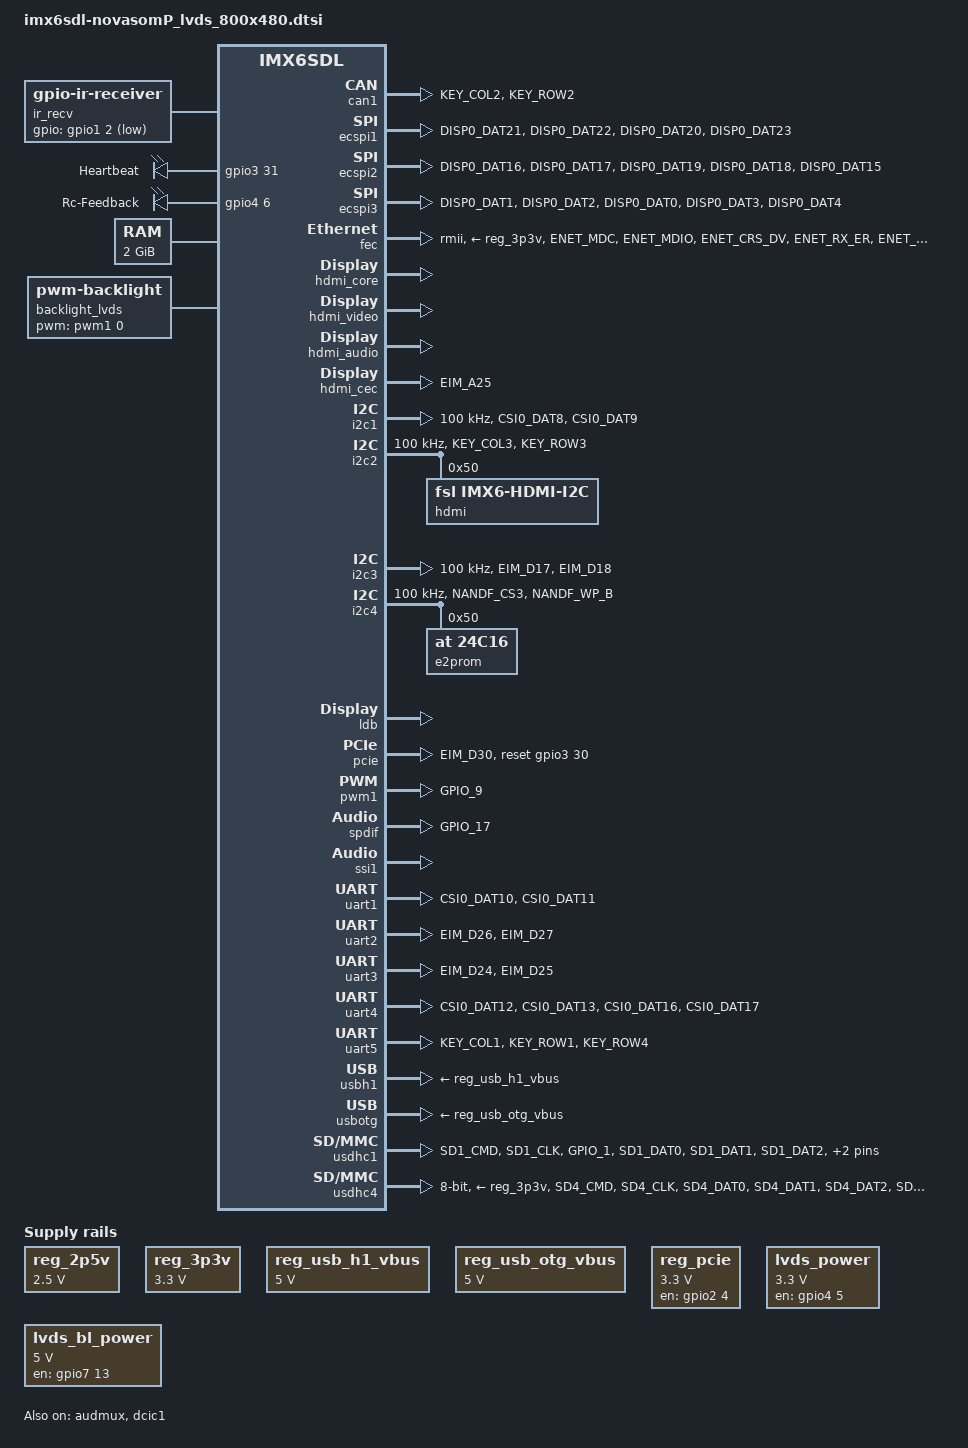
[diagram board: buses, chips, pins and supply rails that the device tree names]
/*
 * Copyright 2013 Boundary Devices, Inc.
 * Copyright 2011-2015 Freescale Semiconductor, Inc.
 * Copyright 2011 Linaro Ltd.
 *
 * The code contained herein is licensed under the GNU General Public
 * License. You may obtain a copy of the GNU General Public License
 * Version 2 or later at the following locations:
 *
 * http://www.opensource.org/licenses/gpl-license.html
 * http://www.gnu.org/copyleft/gpl.html
 */
/*
imx6sdl-novasomP.dtsi
*/
#include <dt-bindings/gpio/gpio.h>
#include <dt-bindings/input/input.h>

/ {
        aliases {
                mxcfb0 = &mxcfb1;
                mxcfb1 = &mxcfb2;
                mxcfb2 = &mxcfb3;
        };

        ir_recv: ir-receiver {
                compatible = "gpio-ir-receiver";
                gpios = <&gpio1 2 1>;
                pinctrl-names = "default";
                pinctrl-0 = <&pinctrl_novasomp_i_ir>;
        };

        leds {
                compatible = "gpio-leds";
		/* rc-feedback */
                heartbeat-led {
                        gpios = <&gpio3 31 0>;
                        label = "Heartbeat";
                        linux,default-trigger = "heartbeat";
	                pinctrl-names = "default";
	                pinctrl-0 = <&pinctrl_heartbeat>;
                };
                rc-feedback-led {
                        gpios = <&gpio4 6 0>;
                        label = "Rc-Feedback";
                        linux,default-trigger = "rc-feedback";
	                pinctrl-names = "default";
	                pinctrl-0 = <&pinctrl_rc_feedback>;
                };
        };

	memory {
		reg = <0x10000000 0x80000000>;
	};

	regulators {
		compatible = "simple-bus";
		#address-cells = <1>;
		#size-cells = <0>;

		reg_2p5v: regulator@0 {
			compatible = "regulator-fixed";
			reg = <0>;
			regulator-name = "2P5V";
			regulator-min-microvolt = <2500000>;
			regulator-max-microvolt = <2500000>;
			regulator-always-on;
		};

		reg_3p3v: regulator@1 {
			compatible = "regulator-fixed";
			reg = <1>;
			regulator-name = "3P3V";
			regulator-min-microvolt = <3300000>;
			regulator-max-microvolt = <3300000>;
			regulator-always-on;
		};

                reg_usb_h1_vbus: regulator@2 {
                        compatible = "regulator-fixed";
                        reg = <0>;
                        regulator-name = "usb_h1_vbus";
                        regulator-min-microvolt = <5000000>;
                        regulator-max-microvolt = <5000000>;
                        enable-active-high;
                };
		reg_usb_otg_vbus: regulator@3 {
			compatible = "regulator-fixed";
			reg = <2>;
			regulator-name = "usb_otg_vbus";
			regulator-min-microvolt = <5000000>;
			regulator-max-microvolt = <5000000>;
			enable-active-high;
		};
                reg_pcie: regulator@4 {
                        compatible = "regulator-fixed";
                        reg = <3>;
                        pinctrl-names = "default";
                        pinctrl-0 = <&pinctrl_pcie_reg>;
                        regulator-name = "MPCIE_3V3";
                        regulator-min-microvolt = <3300000>;
                        regulator-max-microvolt = <3300000>;
                        gpio = <&gpio2 4 0>;
                        enable-active-high;
                };
		snvs_reg: vsnvs {
			regulator-min-microvolt = <1000000>;
			regulator-max-microvolt = <3000000>;
			regulator-boot-on;
			regulator-always-on;
		};
                lvds_power: lvds_power {
                        compatible = "regulator-fixed";
                        pinctrl-names = "default";
                        pinctrl-0 = <&lvds_enable_reg>;
                        regulator-name = "LVDS_3V3";
                        regulator-min-microvolt = <3300000>;
                        regulator-max-microvolt = <3300000>;
                        gpio = <&gpio4 5 0>;
                        enable-active-high;
			regulator-always-on;
                };
                lvds_bl_power: lvds_bl_power {
                        compatible = "regulator-fixed";
                        pinctrl-names = "default";
                        pinctrl-0 = <&lvds_bl_enable_reg>;
                        regulator-name = "LVDS_5V";
                        regulator-min-microvolt = <5000000>;
                        regulator-max-microvolt = <5000000>;
			startup-delay-us = <70000>;
                        gpio = <&gpio7 13 0>;
                        enable-active-high;
			regulator-always-on;
                };
	};

        sound-spdif {
                compatible = "fsl,imx-audio-spdif";
                model = "imx-spdif";
                spdif-controller = <&spdif>;
                spdif-out;
        };
        sound-hdmi {
                compatible = "fsl,imx6q-audio-hdmi",
                             "fsl,imx-audio-hdmi";
                model = "imx-audio-hdmi";
                hdmi-controller = <&hdmi_audio>;
        };

	backlight_lvds {
		compatible = "pwm-backlight";
		pwms = <&pwm1 0 5000000>;
		brightness-levels = <0 4 8 16 32 64 128 255>;
		default-brightness-level = <4>;
		//power-supply = <&lvds_bl_power>;
		status = "okay";
	};

	mxcfb1: fb@0 {
                compatible = "fsl,mxc_sdc_fb";
                disp_dev = "ldb";
                interface_pix_fmt = "RGB666";
                mode_str ="LDB-800P480";
                default_bpp = <24>;
                int_clk = <0>;
                late_init = <0>;
                status = "okay";
        };

        mxcfb2: fb@1 {
                compatible = "fsl,mxc_sdc_fb";
                disp_dev = "ldb";
                interface_pix_fmt = "RGB666";
                default_bpp = <16>;
                int_clk = <0>;
                late_init = <0>;
                status = "disabled";
        };
        mxcfb3: fb@2 {
                compatible = "fsl,mxc_sdc_fb";
                disp_dev = "ldb";
                interface_pix_fmt = "RGB666";
                default_bpp = <16>;
                int_clk = <0>;
                late_init = <0>;
                status = "disabled";
        };


};

&audmux {
	pinctrl-names = "default";
	pinctrl-0 = <&pinctrl_audmux_port3>;
	status = "okay";
};

&audmux {
	pinctrl-names = "default";
	pinctrl-0 = <&pinctrl_audmux_port6>;
	status = "okay";
};

&can1 {
        pinctrl-names = "default";
        pinctrl-0 = <&pinctrl_can1>;
        status = "okay";
};

&dcic1 {
        dcic_id = <0>;
        dcic_mux = "dcic-hdmi";
        status = "okay";
};

&ecspi1 {
        fsl,spi-num-chipselects = <2>;
        cs-gpios = <&gpio5 17 0>;
        pinctrl-names = "default";
        pinctrl-0 = <&pinctrl_ecspi1>;
        status = "okay";
};

&ecspi2 {
        fsl,spi-num-chipselects = <2>;
        cs-gpios = <&gpio5 9 0> ,  <&gpio5 12 0>;
        pinctrl-names = "default";
        pinctrl-0 = <&pinctrl_ecspi2>;
        status = "okay";
};

&ecspi3 {
        fsl,spi-num-chipselects = <2>;
        cs-gpios = <&gpio4 24 0> ,  <&gpio4 25 0>;
        pinctrl-names = "default";
        pinctrl-0 = <&pinctrl_ecspi3>;
        status = "okay";
};

&fec {
        pinctrl-names = "default";
        pinctrl-0 = <&pinctrl_enet>;
        phy-mode = "rmii";
        phy-supply = <&reg_3p3v>;
        status = "okay";
};

&hdmi_core {
        ipu_id = <0>;
        disp_id = <0>;
        status = "okay";
};

&hdmi_video {
        fsl,phy_reg_vlev = <0x0294>;
        fsl,phy_reg_cksymtx = <0x800d>;
        status = "okay";
};

&hdmi_audio {
        status = "okay";
};

&hdmi_cec {
        pinctrl-names = "default";
        pinctrl-0 = <&pinctrl_hdmi_cec>;
        status = "okay";
};

&i2c1 {						/* expansion, power from expansion, 2 wires */			
        clock-frequency = <100000>;
        pinctrl-names = "default";
        pinctrl-0 = <&pinctrl_i2c1>;
        status = "okay";
};
&i2c2 {
        clock-frequency = <100000>;
        pinctrl-names = "default";
        pinctrl-0 = <&pinctrl_i2c2>;
        status = "okay";

        hdmi: edid@50 {
                compatible = "fsl,imx6-hdmi-i2c";
                reg = <0x50>;
        };

};

&i2c3 {
        clock-frequency = <100000>;
        pinctrl-names = "default";
        pinctrl-0 = <&pinctrl_i2c3>;
        status = "okay";
};

&i2c4 {
        clock-frequency = <100000>;
        pinctrl-names = "default";
        pinctrl-0 = <&pinctrl_i2c4>;
        status = "okay";
        e2prom: eeprom@50 {
                compatible = "at,24c16";
                reg = <0x50>;
        };
};

&iomuxc {
/*
CONFIG bits definition:
SION		                (1 << 30)
PAD_CTL_HYS                     (1 << 16)
PAD_CTL_PUS_100K_DOWN           (0 << 14)
PAD_CTL_PUS_47K_UP              (1 << 14)
PAD_CTL_PUS_100K_UP             (2 << 14)
PAD_CTL_PUS_22K_UP              (3 << 14)
PAD_CTL_PUE                     (1 << 13)
PAD_CTL_PKE                     (1 << 12)
PAD_CTL_ODE                     (1 << 11)
PAD_CTL_SPEED_LOW               (1 << 6)
PAD_CTL_SPEED_MED               (2 << 6)
PAD_CTL_SPEED_HIGH              (3 << 6)
PAD_CTL_DSE_DISABLE             (0 << 3)
PAD_CTL_DSE_34ohm               (7 << 3)
PAD_CTL_DSE_40ohm               (6 << 3)
PAD_CTL_DSE_48ohm               (5 << 3)
PAD_CTL_DSE_60ohm               (4 << 3)
PAD_CTL_DSE_80ohm               (3 << 3)
PAD_CTL_DSE_120ohm              (2 << 3)
PAD_CTL_DSE_240ohm              (1 << 3)
PAD_CTL_SRE_FAST                (1 << 0)
PAD_CTL_SRE_SLOW                (0 << 0)
*/
        pinctrl-names = "default";

        imx6qdl-novasomp {
                pinctrl_hog: hoggrp {
                        fsl,pins = <
				MX6QDL_PAD_GPIO_3__XTALOSC_REF_CLK_24M	0x130b0	/* 0x130b0 */	
                                MX6QDL_PAD_GPIO_16__ENET_REF_CLK 	0x130b0 	/* 00x0001b0a1 */
				MX6QDL_PAD_GPIO_0__CCM_CLKO1		0x130b0 /* AUD(x)_MCK */
                        >;
                };

               pinctrl_audmux_port3: audmuxgrp3 {
                        fsl,pins = <
                                MX6QDL_PAD_CSI0_DAT7__AUD3_RXD          0x130b0
                                MX6QDL_PAD_CSI0_DAT4__AUD3_TXC          0x130b0
                                MX6QDL_PAD_CSI0_DAT5__AUD3_TXD          0x110b0
                                MX6QDL_PAD_CSI0_DAT6__AUD3_TXFS         0x130b0
                        >;
                };

                pinctrl_audmux_port6: audmuxgrp6 {
                        fsl,pins = <
                                MX6QDL_PAD_DI0_PIN4__AUD6_RXD		0x130b0
                                MX6QDL_PAD_DI0_PIN15__AUD6_TXC		0x130b0
                                MX6QDL_PAD_DI0_PIN2__AUD6_TXD		0x110b0
                                MX6QDL_PAD_DI0_PIN3__AUD6_TXFS		0x130b0
                        >;
                };

                pinctrl_can1: can1grp {
                        fsl,pins = <
                                MX6QDL_PAD_KEY_COL2__FLEXCAN1_TX        0x1b0b0
                                MX6QDL_PAD_KEY_ROW2__FLEXCAN1_RX        0x1b0b0
                        >;
                };

                pinctrl_ecspi1: ecspi1grp {
                        fsl,pins = <
                                MX6QDL_PAD_DISP0_DAT21__ECSPI1_MOSI 0x100b1
                                MX6QDL_PAD_DISP0_DAT22__ECSPI1_MISO 0x100b1
                                MX6QDL_PAD_DISP0_DAT20__ECSPI1_SCLK 0x100b1
                                MX6QDL_PAD_DISP0_DAT23__ECSPI1_SS0  0x100b1
                        >;
                };

                pinctrl_ecspi2: ecspi2grp {
                        fsl,pins = <
                                MX6QDL_PAD_DISP0_DAT16__ECSPI2_MOSI 0x100b1
                                MX6QDL_PAD_DISP0_DAT17__ECSPI2_MISO 0x100b1
                                MX6QDL_PAD_DISP0_DAT19__ECSPI2_SCLK 0x100b1
                                MX6QDL_PAD_DISP0_DAT18__ECSPI2_SS0  0x100b1
                                MX6QDL_PAD_DISP0_DAT15__ECSPI2_SS1  0x100b1
                        >;
                };

                pinctrl_ecspi3: ecspi3grp {
                        fsl,pins = <
                                MX6QDL_PAD_DISP0_DAT1__ECSPI3_MOSI 0x100b1
                                MX6QDL_PAD_DISP0_DAT2__ECSPI3_MISO 0x100b1
                                MX6QDL_PAD_DISP0_DAT0__ECSPI3_SCLK 0x100b1
                                MX6QDL_PAD_DISP0_DAT3__ECSPI3_SS0  0x100b1
                                MX6QDL_PAD_DISP0_DAT4__ECSPI3_SS1  0x100b1
                        >;
                };

                pinctrl_enet: enetgrp {
                        fsl,pins = <
                                MX6QDL_PAD_ENET_MDC__ENET_MDC		0x1b0b0
                                MX6QDL_PAD_ENET_MDIO__ENET_MDIO		0x1b0b0
                                MX6QDL_PAD_ENET_CRS_DV__ENET_RX_EN	0x1b0b0
                                MX6QDL_PAD_ENET_RX_ER__ENET_RX_ER	0x1b0b0
                                MX6QDL_PAD_ENET_TX_EN__ENET_TX_EN	0x1b0b0
                                MX6QDL_PAD_ENET_RXD0__ENET_RX_DATA0 	0x1b0b0
                                MX6QDL_PAD_ENET_RXD1__ENET_RX_DATA1 	0x1b0b0
                                MX6QDL_PAD_ENET_TXD0__ENET_TX_DATA0 	0x1b0b0
                                MX6QDL_PAD_ENET_TXD1__ENET_TX_DATA1 	0x1b0b0
                        >;
                };

                pinctrl_hdmi_cec: hdmicecgrp {
                        fsl,pins = <
                                MX6QDL_PAD_EIM_A25__HDMI_TX_CEC_LINE    0x108b0
                        >;
                };
                pinctrl_i2c1: i2c1grp {
                        fsl,pins = <
                                MX6QDL_PAD_CSI0_DAT8__I2C1_SDA 0x4001b8b1
                                MX6QDL_PAD_CSI0_DAT9__I2C1_SCL 0x4001b8b1
                        >;
                };

                pinctrl_i2c2: i2c2grp {
                        fsl,pins = <
                                MX6QDL_PAD_KEY_COL3__I2C2_SCL 0x4001b8b1
                                MX6QDL_PAD_KEY_ROW3__I2C2_SDA 0x4001b8b1
                        >;
                };
                pinctrl_i2c3: i2c3grp {
                        fsl,pins = <
                                MX6QDL_PAD_EIM_D17__I2C3_SCL 0x4001b8b1
                                MX6QDL_PAD_EIM_D18__I2C3_SDA 0x4001b8b1
                        >;
                };

                pinctrl_i2c4: i2c4grp {
                        fsl,pins = <
                                MX6QDL_PAD_NANDF_CS3__I2C4_SDA 0x4001b8b1
                                MX6QDL_PAD_NANDF_WP_B__I2C4_SCL 0x4001b8b1
                        >;
                };

                pinctrl_heartbeat: heartbeatled-grp {
                        fsl,pins = <
                                MX6QDL_PAD_EIM_D31__GPIO3_IO31 0x17059
                        >;
                };

                pinctrl_rc_feedback: rc_feedbackled-grp {
                        fsl,pins = <
                                MX6QDL_PAD_KEY_COL0__GPIO4_IO06 0x17059
                        >;
                };
                lvds_enable_reg: lvdsgrp {
                        fsl,pins = <
				MX6QDL_PAD_GPIO_18__GPIO7_IO13  0x17059
                        >;
                };
                lvds_bl_enable_reg: lvdsblgrp {
                        fsl,pins = <
                                MX6QDL_PAD_GPIO_19__GPIO4_IO05  0x17059
                        >;
                };
                pinctrl_novasomp_i_ir: novasomp-i-ir {
                        fsl,pins = <
                                MX6QDL_PAD_GPIO_2__GPIO1_IO02 0x1b0b1
                        >;
                };

                pinctrl_pcie: pciegrp {
                        fsl,pins = <
                                MX6QDL_PAD_EIM_D30__GPIO3_IO30 0x17059
                        >;
                };

                pinctrl_pcie_reg: pciereggrp {
                        fsl,pins = <
                                MX6QDL_PAD_NANDF_D4__GPIO2_IO04  0x1b0b0
                        >;
                };

		pinctrl_spdif: spdifgrp {
			fsl,pins = <
				MX6QDL_PAD_GPIO_17__SPDIF_OUT         0x1b0b0
			>;
		};

                pinctrl_uart1: uart1grp {
                        fsl,pins = <
                                MX6QDL_PAD_CSI0_DAT10__UART1_TX_DATA    0x1b0b1
                                MX6QDL_PAD_CSI0_DAT11__UART1_RX_DATA    0x1b0b1
                        >;
                };

                pinctrl_uart2: uart2grp {
                        fsl,pins = <
                                MX6QDL_PAD_EIM_D26__UART2_TX_DATA 0x1b0b1
                                MX6QDL_PAD_EIM_D27__UART2_RX_DATA 0x1b0b1
                        >;
                };

                pinctrl_uart3: uart3grp {
                        fsl,pins = <
                                MX6QDL_PAD_EIM_D24__UART3_TX_DATA       0x1b0b1
                                MX6QDL_PAD_EIM_D25__UART3_RX_DATA       0x1b0b1
                        >;
                };

                pinctrl_uart4: uart4grp {
                        fsl,pins = <
                                MX6QDL_PAD_CSI0_DAT12__UART4_TX_DATA       0x1b0b1
                                MX6QDL_PAD_CSI0_DAT13__UART4_RX_DATA       0x1b0b1
				MX6QDL_PAD_CSI0_DAT16__UART4_RTS_B  	   0x1b0b1
				MX6QDL_PAD_CSI0_DAT17__UART4_CTS_B  	   0x1b0b1
                        >;
                };

                pinctrl_uart5: uart5grp {
                        fsl,pins = <	
                                MX6QDL_PAD_KEY_COL1__UART5_TX_DATA       0x1b0b1
                                MX6QDL_PAD_KEY_ROW1__UART5_RX_DATA       0x1b0b1
				MX6QDL_PAD_KEY_ROW4__UART5_CTS_B	 0x1b0b1
                        >;
                };

                pinctrl_usdhc1: usdhc1grp {
                        fsl,pins = <
                                MX6QDL_PAD_SD1_CMD__SD1_CMD             0x17059
                                MX6QDL_PAD_SD1_CLK__SD1_CLK             0x10059
                                MX6QDL_PAD_GPIO_1__SD1_CD_B 		0x17059
                                MX6QDL_PAD_SD1_DAT0__SD1_DATA0          0x17059
                                MX6QDL_PAD_SD1_DAT1__SD1_DATA1          0x17059
                                MX6QDL_PAD_SD1_DAT2__SD1_DATA2          0x17059
                                MX6QDL_PAD_SD1_DAT3__SD1_DATA3          0x17059
                        >;
                };
                pinctrl_usdhc4: usdhc4grp {
                        fsl,pins = <
                                MX6QDL_PAD_SD4_CMD__SD4_CMD    0x17059
                                MX6QDL_PAD_SD4_CLK__SD4_CLK    0x10059
                                MX6QDL_PAD_SD4_DAT0__SD4_DATA0 0x17059
                                MX6QDL_PAD_SD4_DAT1__SD4_DATA1 0x17059
                                MX6QDL_PAD_SD4_DAT2__SD4_DATA2 0x17059
                                MX6QDL_PAD_SD4_DAT3__SD4_DATA3 0x17059
                                MX6QDL_PAD_SD4_DAT4__SD4_DATA4 0x17059
                                MX6QDL_PAD_SD4_DAT5__SD4_DATA5 0x17059
                                MX6QDL_PAD_SD4_DAT6__SD4_DATA6 0x17059
                                MX6QDL_PAD_SD4_DAT7__SD4_DATA7 0x17059
                        >;
                };
                pinctrl_pwm1: pwm1grp {
                        fsl,pins = <
                                MX6QDL_PAD_GPIO_9__PWM1_OUT 0x1b0b1
                        >;
                };
        };
};
&ldb {
	status = "okay";

	lvds-channel@0 {
		fsl,data-mapping = "spwg";
		fsl,data-width = <18>;
		primary;
		status = "okay";
		crtc = "ipu1-di0";

		display-timings {
			native-mode = <&timing0>;
			/*timing0: hsd100pxn1 {*/
			timing0: LVDS-800X480 {
				clock-frequency = <33000000>;
				hactive = <800>;
				vactive = <480>;
				hback-porch = <220>;
				hfront-porch = <40>;
				vback-porch = <21>;
				vfront-porch = <7>;
				hsync-len = <60>;
				vsync-len = <10>;
			};
		};
	};

	lvds-channel@1 {
		fsl,data-mapping = "spwg";
		fsl,data-width = <18>;
		status = "okay";
		crtc = "ipu1-di1";

		display-timings {
			native-mode = <&timing1>;
			timing1: hsd100pxn1 {
				clock-frequency = <65000000>;
				hactive = <1024>;
				vactive = <768>;
				hback-porch = <220>;
				hfront-porch = <40>;
				vback-porch = <21>;
				vfront-porch = <7>;
				hsync-len = <60>;
				vsync-len = <10>;
			};
		};
	};
};
&pcie {
        pinctrl-names = "default";
        pinctrl-0 = <&pinctrl_pcie>;
        reset-gpio = <&gpio3 30 0>;
        status = "okay";
};

&pwm1 {
	pinctrl-names = "default";
	pinctrl-0 = <&pinctrl_pwm1>;
	status = "okay";
};

&spdif {
        pinctrl-names = "default";
        pinctrl-0 = <&pinctrl_spdif>;
        status = "okay";
};

&ssi1 {
        fsl,mode = "i2s-slave";
	status = "okay";
};

&uart1 {					/* expansion, power from expansion, 2 wires */
        pinctrl-names = "default";
        pinctrl-0 = <&pinctrl_uart1>;
        status = "okay";
};

&uart2 {					/* aux rs232 */
        pinctrl-names = "default";
        pinctrl-0 = <&pinctrl_uart2>;
        status = "okay";
};


&uart3 {					/* console */
        pinctrl-names = "default";
        pinctrl-0 = <&pinctrl_uart3>;
        status = "okay";
};

&uart4 {					/* expansion, power from expansion, 4 wires */
        pinctrl-names = "default";
        pinctrl-0 = <&pinctrl_uart4>;
        fsl,uart-has-rtscts;
        status = "okay";
};

&uart5 {					/* rs485 */
        pinctrl-names = "default";
        pinctrl-0 = <&pinctrl_uart5>;
        fsl,uart-has-rtscts;
        status = "okay";
};

&usbh1 {
        vbus-supply = <&reg_usb_h1_vbus>;
	status = "okay";
};

&usbotg {
	vbus-supply = <&reg_usb_otg_vbus>;
	pinctrl-names = "default";
	disable-over-current;
        srp-disable;
        hnp-disable;
        adp-disable;
	status = "okay";
};

&usdhc1 {
        pinctrl-names = "default";
        pinctrl-0 = <&pinctrl_usdhc1>;
        cd-gpios = <&gpio1 1 GPIO_ACTIVE_LOW>;
        no-1-8-v;
        keep-power-in-suspend;
        enable-sdio-wakeup;
        status = "okay";
};

&usdhc4 {
        pinctrl-names = "default";
        pinctrl-0 = <&pinctrl_usdhc4>;
        bus-width = <8>;
        vmmc-supply = <&reg_3p3v>;
        status = "okay";
};
